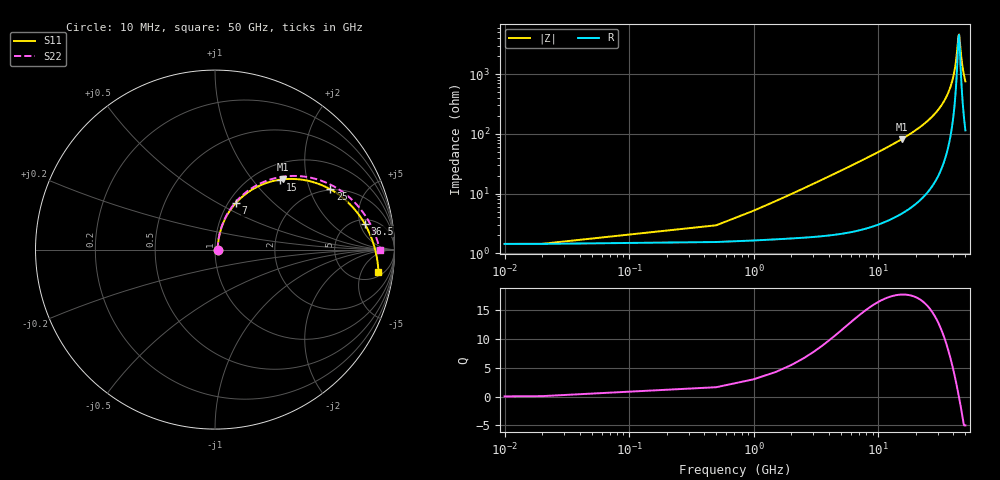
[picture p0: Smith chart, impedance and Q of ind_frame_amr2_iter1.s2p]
#  GHZ S DB R 50
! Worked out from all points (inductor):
!   102 points, 10 MHz to 50 GHz, reference 50 ohm
!   read as 1/Y11, port 2 shorted: L = 767 pH near 1.5 GHz
!   highest Q = 17.7 at 15.5 GHz (marker M1), where L = 842 pH
!   self-resonance near 44 GHz
!   S11 on the Smith chart (normalised r, x): 10 MHz: 1.03, +0.00; 7 GHz: 1.08, +0.61; 15 GHz: 1.29, +1.40; 25 GHz: 1.97, +2.80; 36.5 GHz: 5.86, +5.96; 50 GHz: 7, -11
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0.01  -36.99 2.0  -0.12 -0.0  -0.12 -0.0  -36.99 2.0
0.5  -31.46 54.1  -0.14 -1.6  -0.14 -1.6  -31.45 54.2
1  -26.75 67.1  -0.15 -3.1  -0.15 -3.1  -26.74 67.2
1.5  -23.59 71.5  -0.17 -4.5  -0.17 -4.5  -23.59 71.7
2  -21.25 73.3  -0.19 -6.0  -0.19 -6.0  -21.25 73.5
3  -17.87 73.7  -0.25 -8.8  -0.25 -8.8  -17.88 74.0
4  -15.47 72.4  -0.31 -11.7  -0.31 -11.7  -15.48 72.9
5.5  -12.85 69.4  -0.43 -15.8  -0.43 -15.8  -12.85 70.0
7  -10.91 65.9  -0.59 -19.9  -0.59 -19.9  -10.92 66.7
8.5  -9.41 62.2  -0.77 -23.8  -0.77 -23.8  -9.42 63.3
11.5  -7.21 55.0  -1.19 -31.3  -1.19 -31.3  -7.22 56.4
15  -5.47 47.0  -1.78 -39.3  -1.78 -39.3  -5.48 48.9
15.5  -5.27 45.9  -1.87 -40.4  -1.87 -40.4  -5.28 47.9
17  -4.72 42.7  -2.15 -43.5  -2.15 -43.5  -4.73 44.9
20.5  -3.71 35.7  -2.82 -50.4  -2.82 -50.4  -3.72 38.4
25  -2.79 27.5  -3.73 -58.4  -3.73 -58.4  -2.80 30.9
25.5  -2.70 26.7  -3.83 -59.3  -3.83 -59.3  -2.72 30.1
29.5  -2.13 20.2  -4.67 -65.6  -4.67 -65.6  -2.15 24.2
33.5  -1.71 14.1  -5.53 -71.4  -5.53 -71.4  -1.72 18.8
36.5  -1.45 9.8  -6.18 -75.5  -6.18 -75.5  -1.46 15.0
42  -1.09 2.4  -7.41 -82.6  -7.41 -82.6  -1.10 8.5
50  -0.73 -7.7  -9.29 -92.0  -9.29 -92.0  -0.74 -0.1
